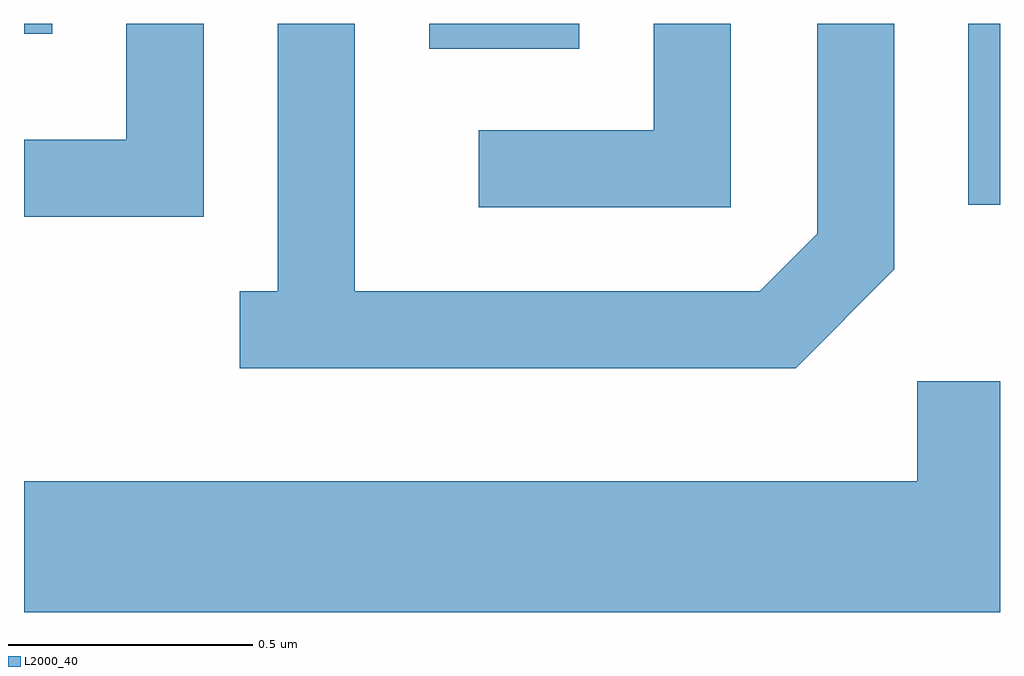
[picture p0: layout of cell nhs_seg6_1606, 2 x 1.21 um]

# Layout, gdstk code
import gdstk
lib = gdstk.Library(unit=1e-6, precision=1e-09)
def R(c, l, rs):  # rectangles x0, y0, x1, y1
    for r in rs: c.add(gdstk.rectangle(r[:2], r[2:], *l))
def P(c, l, *ps):  # polygons
    for p in ps: c.add(gdstk.Polygon(p, *l))
L2000_40 = (2000, 40)

nhs_seg6_1606 = lib.new_cell('nhs_seg6_1606')
R(nhs_seg6_1606, L2000_40, [(198.546,1630.791,198.611,1631.162), (197.441,1631.111,197.749,1631.162), (196.611,1631.141,196.669,1631.162)])
P(nhs_seg6_1606, L2000_40, [(196.979,1631.162),(196.821,1631.162),(196.821,1630.924),(196.611,1630.924),(196.611,1630.766),(196.979,1630.766)],
  [(198.059,1631.162),(197.901,1631.162),(197.901,1630.944),(197.543,1630.944),(197.543,1630.786),(198.059,1630.786)],
  [(198.394,1630.659),(198.394,1631.162),(198.236,1631.162),(198.236,1630.732),(198.119,1630.614),(197.289,1630.614),(197.289,1631.162),(197.131,1631.162),(197.131,1630.614),(197.053,1630.614),(197.053,1630.456),(198.192,1630.456)],
  [(198.611,1630.429),(198.441,1630.429),(198.441,1630.224),(196.611,1630.224),(196.611,1629.956),(198.611,1629.956)])

lib.write_gds('nhs_seg6_1606.gds')
